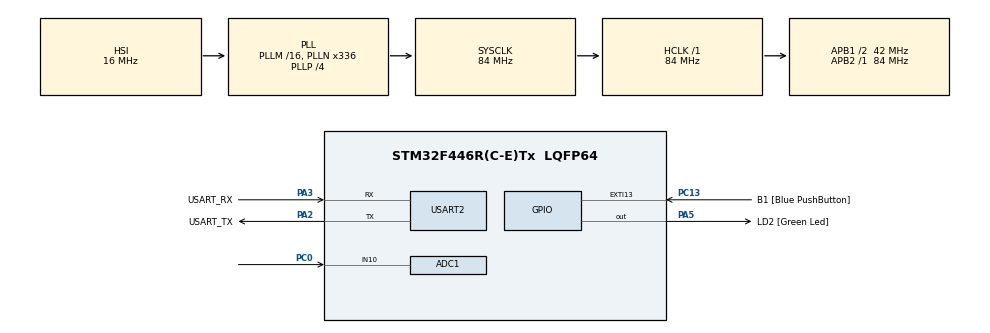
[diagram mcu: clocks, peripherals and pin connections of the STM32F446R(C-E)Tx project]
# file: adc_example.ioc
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ADC1.Channel-0\#ChannelRegularConversion=ADC_CHANNEL_10
ADC1.NbrOfConversion=1
ADC1.NbrOfConversionFlag=1
ADC1.Rank-0\#ChannelRegularConversion=1
ADC1.SamplingTime-0\#ChannelRegularConversion=ADC_SAMPLETIME_3CYCLES
ADC1.ScanConvMode=DISABLE
ADC1.master=1
Mcu.Family=STM32F4
Mcu.Name=STM32F446R(C-E)Tx
Mcu.Package=LQFP64
NVIC.PriorityGroup=NVIC_PRIORITYGROUP_0
NVIC.TIM2_IRQn=true\:0\:0\:false\:false\:true\:true\:true
PA13.GPIO_Label=TMS
PA13.Signal=SYS_JTMS-SWDIO
PA14.GPIO_Label=TCK
PA14.Signal=SYS_JTCK-SWCLK
PA2.GPIO_Label=USART_TX
PA2.Mode=Asynchronous
PA2.Signal=USART2_TX
PA3.GPIO_Label=USART_RX
PA3.Mode=Asynchronous
PA3.Signal=USART2_RX
PA5.GPIO_Label=LD2 [Green Led]
PA5.Signal=GPIO_Output
PB3.GPIO_Label=SWO
PB3.Signal=SYS_JTDO-SWO
PC0.Signal=ADCx_IN10
PC13.GPIO_Label=B1 [Blue PushButton]
PC13.GPIO_ModeDefaultEXTI=GPIO_MODE_IT_FALLING
PC13.Signal=GPXTI13
PC14-OSC32_IN.Signal=RCC_OSC32_IN
PC15-OSC32_OUT.Signal=RCC_OSC32_OUT
PH0-OSC_IN.Signal=RCC_OSC_IN
PH1-OSC_OUT.Signal=RCC_OSC_OUT
ProjectManager.HeapSize=0x200
ProjectManager.StackSize=0x400
ProjectManager.TargetToolchain=STM32CubeIDE
RCC.AHBFreq_Value=84000000
RCC.APB1CLKDivider=RCC_HCLK_DIV2
RCC.APB1Freq_Value=42000000
RCC.APB1TimFreq_Value=84000000
RCC.APB2Freq_Value=84000000
RCC.APB2TimFreq_Value=84000000
RCC.CortexFreq_Value=84000000
RCC.FLatency-AdvancedSettings=FLASH_LATENCY_2
RCC.HCLKFreq_Value=84000000
RCC.HSE_VALUE=8000000
RCC.HSI_VALUE=16000000
RCC.LSE_VALUE=32768
RCC.PLLN=336
RCC.PLLP=RCC_PLLP_DIV4
RCC.SYSCLKFreq_VALUE=84000000
RCC.SYSCLKSource=RCC_SYSCLKSOURCE_PLLCLK
RCC.USBFreq_Value=168000000
RCC.VCOOutputFreq_Value=336000000
SH.ADCx_IN10.0=ADC1_IN10,IN10
TIM2.AutoReloadPreload=TIM_AUTORELOAD_PRELOAD_DISABLE
TIM2.Period=10000
TIM2.Prescaler=8400
USART2.VirtualMode=VM_ASYNC
VP_TIM2_VS_ClockSourceINT.Mode=Internal
board=NUCLEO-F446RE

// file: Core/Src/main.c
/* USER CODE BEGIN Header */
/**
  ******************************************************************************
  * @file           : main.c
  * @brief          : Main program body
  ******************************************************************************
  * @attention
  *
  * <h2><center>&copy; Copyright (c) 2020 STMicroelectronics.
  * All rights reserved.</center></h2>
  *
  * This software component is licensed by ST under BSD 3-Clause license,
  * the "License"; You may not use this file except in compliance with the
  * License. You may obtain a copy of the License at:
  *                        opensource.org/licenses/BSD-3-Clause
  *
  ******************************************************************************
  */
/* USER CODE END Header */
#include "main.h"
#include "adc.h"
#include "tim.h"
#include "usart.h"
#include "gpio.h"

/* USER CODE BEGIN Includes */
#include <errno.h>
#include <stdio.h>
/* USER CODE END Includes */

void SystemClock_Config(void);

/* USER CODE BEGIN 0 */
int _write(int file, char *ptr, int len)
{
	if ((file != 1) && (file != 0)) {
		return -EINVAL;
	}

	/* Don't bother error handling in case of timeout */
	HAL_UART_Transmit(&huart2, (uint8_t *) ptr, len, 1000);
	return len;
}

void HAL_TIM_PeriodElapsedCallback(TIM_HandleTypeDef *htim)
{
	if (htim == &htim2) {
		  HAL_ADC_Start(&hadc1);
		  HAL_ADC_PollForConversion(&hadc1, 50);
		  unsigned int val = HAL_ADC_GetValue(&hadc1);
		  printf("ADC Value: 0x%08X\r\n", val);
	}
}
/* USER CODE END 0 */

int main(void)
{

  /* MCU Configuration--------------------------------------------------------*/

  /* Reset of all peripherals, Initializes the Flash interface and the Systick. */
  HAL_Init();

  /* Configure the system clock */
  SystemClock_Config();

  /* Initialize all configured peripherals */
  MX_GPIO_Init();
  MX_ADC1_Init();
  MX_TIM2_Init();
  MX_USART2_UART_Init();
  /* USER CODE BEGIN 2 */
  HAL_UART_Transmit(&huart2, (uint8_t *) "Hello World\n", 12, 500);

  /* Will work once write stub is set up correctly */
  printf("Hello from printf!\r\n");

  /* Sample ADC*/
  HAL_ADC_Start(&hadc1);
  HAL_ADC_PollForConversion(&hadc1, 50);
  unsigned int val = HAL_ADC_GetValue(&hadc1);
  printf("ADC Value: 0x%08X\r\n", val);
  HAL_TIM_Base_Start_IT(&htim2);
  /* USER CODE END 2 */

  /* Infinite loop */
  while (1)
  {
	  /*
	  HAL_Delay(1000);
	  HAL_ADC_Start(&hadc1);
	  HAL_ADC_PollForConversion(&hadc1, 50);
	  val = HAL_ADC_GetValue(&hadc1);
	  printf("ADC Value: 0x%08X\r\n", val);
	  */
  }
}

void SystemClock_Config(void)
{
  RCC_OscInitTypeDef RCC_OscInitStruct = {0};
  RCC_ClkInitTypeDef RCC_ClkInitStruct = {0};

  /** Configure the main internal regulator output voltage
  */
  __HAL_RCC_PWR_CLK_ENABLE();
  __HAL_PWR_VOLTAGESCALING_CONFIG(PWR_REGULATOR_VOLTAGE_SCALE3);
  /** Initializes the RCC Oscillators according to the specified parameters
  * in the RCC_OscInitTypeDef structure.
  */
  RCC_OscInitStruct.OscillatorType = RCC_OSCILLATORTYPE_HSI;
  RCC_OscInitStruct.HSIState = RCC_HSI_ON;
  RCC_OscInitStruct.HSICalibrationValue = RCC_HSICALIBRATION_DEFAULT;
  RCC_OscInitStruct.PLL.PLLState = RCC_PLL_ON;
  RCC_OscInitStruct.PLL.PLLSource = RCC_PLLSOURCE_HSI;
  RCC_OscInitStruct.PLL.PLLM = 16;
  RCC_OscInitStruct.PLL.PLLN = 336;
  RCC_OscInitStruct.PLL.PLLP = RCC_PLLP_DIV4;
  RCC_OscInitStruct.PLL.PLLQ = 2;
  RCC_OscInitStruct.PLL.PLLR = 2;
  if (HAL_RCC_OscConfig(&RCC_OscInitStruct) != HAL_OK)
  {
    Error_Handler();
  }
  /** Initializes the CPU, AHB and APB buses clocks
  */
  RCC_ClkInitStruct.ClockType = RCC_CLOCKTYPE_HCLK|RCC_CLOCKTYPE_SYSCLK
                              |RCC_CLOCKTYPE_PCLK1|RCC_CLOCKTYPE_PCLK2;
  RCC_ClkInitStruct.SYSCLKSource = RCC_SYSCLKSOURCE_PLLCLK;
  RCC_ClkInitStruct.AHBCLKDivider = RCC_SYSCLK_DIV1;
  RCC_ClkInitStruct.APB1CLKDivider = RCC_HCLK_DIV2;
  RCC_ClkInitStruct.APB2CLKDivider = RCC_HCLK_DIV1;

  if (HAL_RCC_ClockConfig(&RCC_ClkInitStruct, FLASH_LATENCY_2) != HAL_OK)
  {
    Error_Handler();
  }
}

void Error_Handler(void)
{
}

/************************ (C) COPYRIGHT STMicroelectronics *****END OF FILE****/
